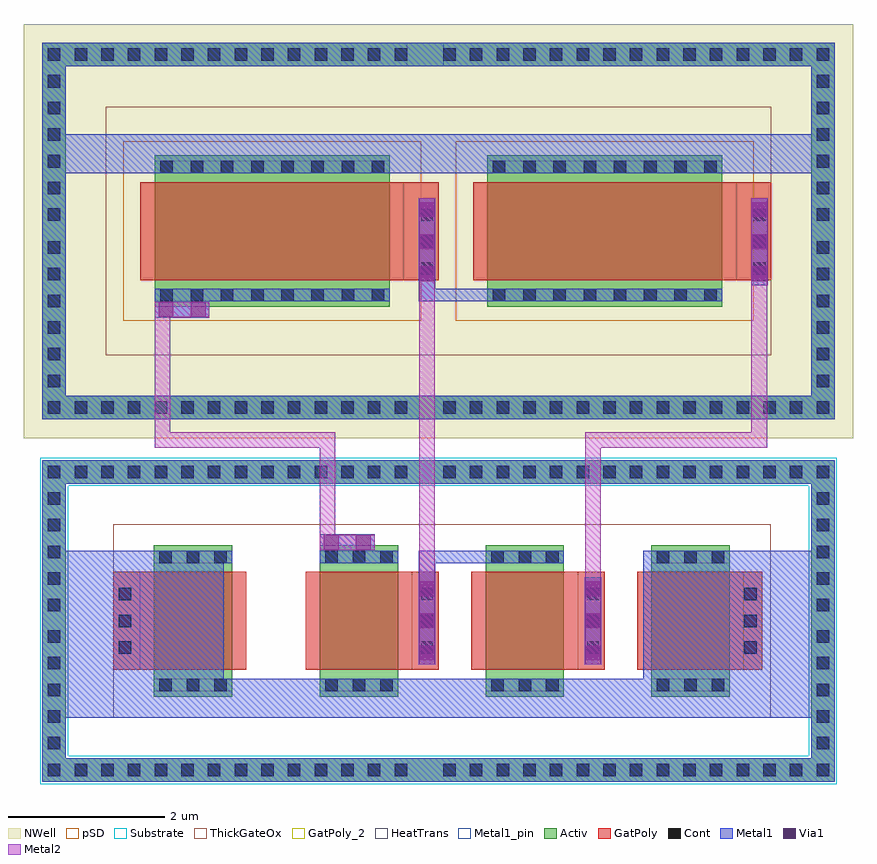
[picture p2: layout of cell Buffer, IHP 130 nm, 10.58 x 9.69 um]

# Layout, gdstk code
from math import pi, radians
import gdstk
lib = gdstk.Library(unit=1e-6, precision=5e-09)
def R(c, l, rs):  # rectangles x0, y0, x1, y1
    for r in rs: c.add(gdstk.rectangle(r[:2], r[2:], *l))
def A(c, l, x, y, w, h, nx, ny, dx, dy):  # array of equal rectangles
    R(c, l, [(x+i*dx, y+j*dy, x+i*dx+w, y+j*dy+h) for i in range(nx) for j in range(ny)])
def P(c, l, *ps):  # polygons
    for p in ps: c.add(gdstk.Polygon(p, *l))
Activ = (1, 0)
GatPoly = (5, 0)
GatPoly_2 = (5, 2)
Cont = (6, 0)
Metal1 = (8, 0)
Metal1_pin = (8, 2)
Metal2 = (10, 0)
pSD = (14, 0)
Via1 = (19, 0)
NWell = (31, 0)
Substrate = (40, 0)
ThickGateOx = (44, 0)
HeatTrans = (51, 0)

pmoshv_6 = lib.new_cell('pmosHV$6')
R(pmoshv_6, Activ, [(0,0,0.3,0.3), (0,0,1.93,3), (1.63,0,1.93,0.3)])
R(pmoshv_6, GatPoly, [(0.34,-0.18,1.59,3.18)])
R(pmoshv_6, GatPoly_2, [(0.34,-0.18,1.59,3.18)])
A(pmoshv_6, Cont, 0.07, 0.07, 0.16, 0.16, 1, 7, 0, 0.385)
A(pmoshv_6, Cont, 1.7, 0.07, 0.16, 0.16, 1, 7, 0, 0.385)
R(pmoshv_6, Cont, [(0.07,2.77,0.23,2.93), (1.7,2.77,1.86,2.93)])
R(pmoshv_6, Metal1, [(0.07,0,0.23,3), (1.7,0,1.86,3)])
R(pmoshv_6, Metal1_pin, [(0.07,0,0.23,3), (1.7,0,1.86,3)])
R(pmoshv_6, pSD, [(-0.18,-0.4,2.11,3.4)])
R(pmoshv_6, NWell, [(-0.62,-0.62,2.55,3.62)])
R(pmoshv_6, ThickGateOx, [(-0.62,-0.62,2.55,3.62)])
R(pmoshv_6, HeatTrans, [(0.34,-0.18,1.59,3.18)])
pmoshv_6.add(gdstk.Label('pmosHV', (0.965,1.5), layer=63, texttype=0))
pmoshv_6.add(gdstk.Label('pmos', (0.965,1.5), layer=51, texttype=0))

guard_ring_8 = lib.new_cell('guard_ring$8')
R(guard_ring_8, Activ, [(-5.05,-2.1,-4.75,2.1), (4.75,-2.1,5.05,2.1), (-5.05,2.1,5.05,2.4)])
P(guard_ring_8, Activ, [(-5.05,-2.4),(-5.05,2.1),(-4.75,2.1),(-4.75,-2.1),(4.75,-2.1),(4.75,2.1),(-5.05,2.1),(-5.05,2.4),(5.05,2.4),(5.05,-2.4)])
A(guard_ring_8, Cont, -4.98, -2.33, 0.16, 0.16, 14, 2, 0.34, 4.5)
A(guard_ring_8, Cont, 0.06, -2.33, 0.16, 0.16, 15, 2, 0.34, 4.5)
A(guard_ring_8, Cont, -4.98, -1.99, 0.16, 0.16, 1, 6, 0, 0.34)
A(guard_ring_8, Cont, 4.82, -1.99, 0.16, 0.16, 1, 6, 0, 0.34)
A(guard_ring_8, Cont, -4.98, 0.13, 0.16, 0.16, 1, 6, 0, 0.34)
A(guard_ring_8, Cont, 4.82, 0.13, 0.16, 0.16, 1, 6, 0, 0.34)
R(guard_ring_8, Metal1, [(-5.05,-2.4,5.05,-2.1), (-5.05,-2.1,-4.75,2.1), (4.75,-2.1,5.05,2.1), (-5.05,2.1,5.05,2.4)])
R(guard_ring_8, NWell, [(-5.29,-2.64,5.29,2.64)])
guard_ring_8.add(gdstk.Label('well', (0,-2.25), layer=63, texttype=0))

via_stack_12 = lib.new_cell('via_stack$12')
R(via_stack_12, GatPoly, [(-0.15,-0.49,0.15,0.49)])
A(via_stack_12, Cont, -0.08, -0.42, 0.16, 0.16, 1, 3, 0, 0.34)
R(via_stack_12, Metal1, [(-0.105,-0.555,0.105,0.555)])
R(via_stack_12, Metal2, [(-0.1,-0.555,0.1,0.555)])
A(via_stack_12, Via1, -0.095, -0.505, 0.19, 0.19, 1, 3, 0, 0.41)

guard_ring_11 = lib.new_cell('guard_ring$11')
R(guard_ring_11, Activ, [(-5.05,-1.75,-4.75,1.75), (4.75,-1.75,5.05,1.75), (-5.05,1.75,5.05,2.05)])
P(guard_ring_11, Activ, [(-5.05,-2.05),(-5.05,1.75),(-4.75,1.75),(-4.75,-1.75),(4.75,-1.75),(4.75,1.75),(-5.05,1.75),(-5.05,2.05),(5.05,2.05),(5.05,-2.05)])
A(guard_ring_11, Cont, -4.98, -1.98, 0.16, 0.16, 14, 2, 0.34, 3.8)
A(guard_ring_11, Cont, 0.06, -1.98, 0.16, 0.16, 15, 2, 0.34, 3.8)
A(guard_ring_11, Cont, -4.98, -1.64, 0.16, 0.16, 1, 5, 0, 0.34)
A(guard_ring_11, Cont, 4.82, -1.64, 0.16, 0.16, 1, 5, 0, 0.34)
A(guard_ring_11, Cont, -4.98, 0.12, 0.16, 0.16, 1, 5, 0, 0.34)
A(guard_ring_11, Cont, 4.82, 0.12, 0.16, 0.16, 1, 5, 0, 0.34)
R(guard_ring_11, Metal1, [(-5.05,-2.05,5.05,-1.75), (-5.05,-1.75,-4.75,1.75), (4.75,-1.75,5.05,1.75), (-5.05,1.75,5.05,2.05)])
R(guard_ring_11, pSD, [(-5.08,-1.72,-4.72,1.72), (4.72,-1.72,5.08,1.72), (-5.08,1.72,5.08,2.08)])
P(guard_ring_11, pSD, [(-5.08,-2.08),(-5.08,1.72),(-4.72,1.72),(-4.72,-1.72),(4.72,-1.72),(4.72,1.72),(-5.08,1.72),(-5.08,2.08),(5.08,2.08),(5.08,-2.08)])
R(guard_ring_11, Substrate, [(-5.08,-1.72,-4.72,1.72), (4.72,-1.72,5.08,1.72), (-5.08,1.72,5.08,2.08)])
P(guard_ring_11, Substrate, [(-5.08,-2.08),(-5.08,1.72),(-4.72,1.72),(-4.72,-1.72),(4.72,-1.72),(4.72,1.72),(-5.08,1.72),(-5.08,2.08),(5.08,2.08),(5.08,-2.08)])
guard_ring_11.add(gdstk.Label('sub!', (0,-1.9), layer=63, texttype=0))

via_stack_8 = lib.new_cell('via_stack$8')
R(via_stack_8, Metal1, [(-0.105,-0.35,0.105,0.35)])
R(via_stack_8, Metal2, [(-0.1,-0.35,0.1,0.35)])
R(via_stack_8, Via1, [(-0.095,-0.3,0.095,-0.11), (-0.095,0.11,0.095,0.3)])

via_stack_16 = lib.new_cell('via_stack$16')
R(via_stack_16, GatPoly, [(-0.15,-0.49,0.15,0.49)])
A(via_stack_16, Cont, -0.08, -0.42, 0.16, 0.16, 1, 3, 0, 0.34)
R(via_stack_16, Metal1, [(-0.08,-0.47,0.08,0.47)])

nmoshv_4 = lib.new_cell('nmosHV$4')
R(nmoshv_4, Activ, [(0,0,0.3,0.3), (0,0,1.93,1), (1.63,0,1.93,0.3)])
R(nmoshv_4, GatPoly, [(0.34,-0.18,1.59,1.18)])
R(nmoshv_4, GatPoly_2, [(0.34,-0.18,1.59,1.18)])
A(nmoshv_4, Cont, 0.07, 0.07, 0.16, 0.16, 1, 3, 0, 0.35)
A(nmoshv_4, Cont, 1.7, 0.07, 0.16, 0.16, 1, 3, 0, 0.35)
R(nmoshv_4, Metal1, [(0.07,0,0.23,1), (1.7,0,1.86,1)])
R(nmoshv_4, Metal1_pin, [(0.07,0,0.23,1), (1.7,0,1.86,1)])
R(nmoshv_4, ThickGateOx, [(-0.27,-0.52,2.2,1.52)])
R(nmoshv_4, HeatTrans, [(0.34,-0.18,1.59,1.18)])
nmoshv_4.add(gdstk.Label('nmosHV', (0.965,0.5), layer=63, texttype=0))
nmoshv_4.add(gdstk.Label('nmosHV', (0.965,0.5), layer=51, texttype=0))

buffer = lib.new_cell('Buffer')
R(buffer, GatPoly, [(1.14,1.455,1.48,2.705), (4.955,1.455,5.295,2.705), (7.07,1.455,7.41,2.705), (9.08,1.455,9.42,2.705), (4.85,6.425,5.29,7.675), (9.09,6.425,9.53,7.675)])
R(buffer, Metal1, [(0.54,0.845,10.04,1.345), (0.54,1.185,2.555,2.975), (7.9,1.185,10.04,2.975), (5.04,2.635,5.25,2.975), (5.04,2.815,5.89,2.975), (5.04,6.155,5.91,6.315), (5.04,6.155,5.25,6.36), (0.54,7.785,10.04,8.285)])
R(buffer, Metal1_pin, [(4.885,9.15,5.36,9.45)])
P(buffer, Metal1_pin, [(3.14,3.145),(3.14,3.145),(3.14,3.145),(3.14,3.145)])
R(buffer, Metal2, [(5.045,2.635,5.245,4.485), (7.16,2.635,7.36,4.485), (3.775,3.18,3.975,4.485), (1.67,4.285,3.975,4.485), (1.67,4.285,1.87,5.95), (5.045,4.285,5.245,6.36), (7.16,4.285,9.48,4.485), (9.28,4.285,9.48,6.36)])
A(buffer, ThickGateOx, 3.18, 0.845, 0.075, 2.47, 3, 1, 2.115, 0)
buffer.add(gdstk.Reference(pmoshv_6, (8.91,6.085), rotation=pi/2))
buffer.add(gdstk.Reference(pmoshv_6, (4.67,6.085), rotation=pi/2))
buffer.add(gdstk.Reference(guard_ring_8, (5.29,7.05)))
buffer.add(gdstk.Reference(via_stack_12, (9.38,6.915)))
buffer.add(gdstk.Reference(via_stack_12, (5.145,6.915)))
buffer.add(gdstk.Reference(guard_ring_11, (5.29,2.08)))
buffer.add(gdstk.Reference(via_stack_8, (2.02,6.05), rotation=3*pi/2))
buffer.add(gdstk.Reference(via_stack_12, (7.26,2.08)))
buffer.add(gdstk.Reference(via_stack_16, (9.27,2.08)))
buffer.add(gdstk.Reference(via_stack_12, (5.145,2.08)))
buffer.add(gdstk.Reference(via_stack_16, (1.29,2.08)))
buffer.add(gdstk.Reference(via_stack_8, (4.125,3.08), rotation=3*pi/2))
buffer.add(gdstk.Reference(nmoshv_4, (2.66,1.115), rotation=pi/2))
buffer.add(gdstk.Reference(nmoshv_4, (6.89,1.115), rotation=pi/2))
buffer.add(gdstk.Reference(nmoshv_4, (9.005,1.115), rotation=pi/2))
buffer.add(gdstk.Reference(nmoshv_4, (4.775,1.115), rotation=pi/2))

lib.write_gds('Buffer.gds')
